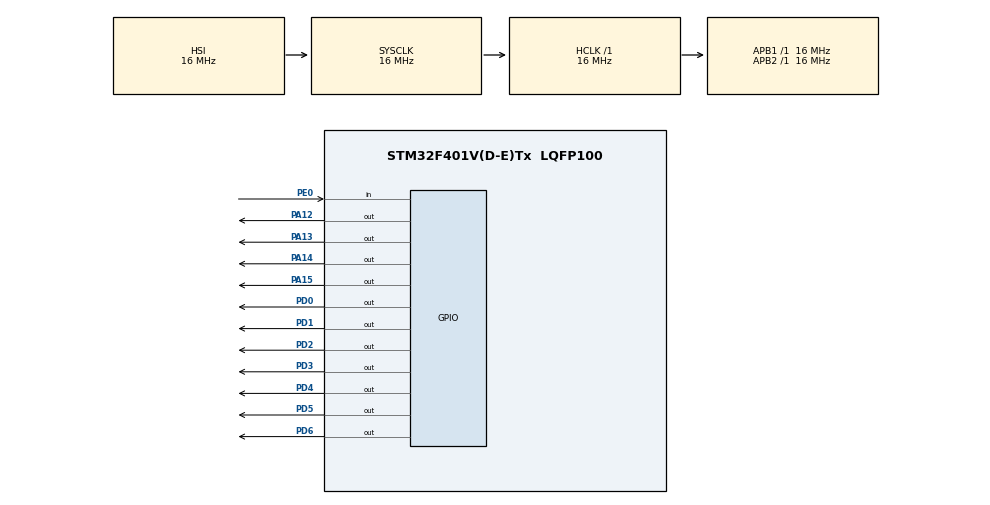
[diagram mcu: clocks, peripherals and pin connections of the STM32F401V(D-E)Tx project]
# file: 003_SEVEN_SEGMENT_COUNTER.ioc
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Mcu.Family=STM32F4
Mcu.Name=STM32F401V(D-E)Tx
Mcu.Package=LQFP100
NVIC.PriorityGroup=NVIC_PRIORITYGROUP_4
PA12.Signal=GPIO_Output
PA13.Signal=GPIO_Output
PA14.Signal=GPIO_Output
PA15.Signal=GPIO_Output
PD0.PinState=GPIO_PIN_SET
PD0.Signal=GPIO_Output
PD1.PinState=GPIO_PIN_SET
PD1.Signal=GPIO_Output
PD2.PinState=GPIO_PIN_SET
PD2.Signal=GPIO_Output
PD3.PinState=GPIO_PIN_SET
PD3.Signal=GPIO_Output
PD4.PinState=GPIO_PIN_SET
PD4.Signal=GPIO_Output
PD5.PinState=GPIO_PIN_SET
PD5.Signal=GPIO_Output
PD6.Signal=GPIO_Output
PE0.GPIO_PuPd=GPIO_PULLDOWN
PE0.Signal=GPIO_Input
ProjectManager.HeapSize=0x200
ProjectManager.StackSize=0x400
ProjectManager.TargetToolchain=STM32CubeIDE
RCC.AHBFreq_Value=16000000
RCC.APB1Freq_Value=16000000
RCC.APB2Freq_Value=16000000
RCC.CortexFreq_Value=16000000
RCC.HSE_VALUE=25000000
RCC.HSI_VALUE=16000000
RCC.LSE_VALUE=32768
RCC.SYSCLKFreq_VALUE=16000000
RCC.VCOOutputFreq_Value=192000000
board=custom

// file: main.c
/* USER CODE BEGIN Header */
/**
 ******************************************************************************
 * @file           : main.c
 * @brief          : Main program body
 ******************************************************************************
 * @attention
 *
 * Copyright (c) 2023 STMicroelectronics.
 * All rights reserved.
 *
 * This software is licensed under terms that can be found in the LICENSE file
 * in the root directory of this software component.
 * If no LICENSE file comes with this software, it is provided AS-IS.
 *
 ******************************************************************************
 */
/* USER CODE END Header */
#include "main.h"

void SystemClock_Config(void);
static void MX_GPIO_Init(void);

int main(void)
{

  /* MCU Configuration--------------------------------------------------------*/

  /* Reset of all peripherals, Initializes the Flash interface and the Systick. */
  HAL_Init();

  /* Configure the system clock */
  SystemClock_Config();

  /* Initialize all configured peripherals */
  MX_GPIO_Init();
  /* USER CODE BEGIN 2 */
	const uint8_t segmentMap[16] = {
			0b00111111,   // 0
			0b00000110,   // 1
			0b01011011,   // 2
			0b01001111,   // 3
			0b01100110,   // 4
			0b01101101,   // 5
			0b01111101,   // 6
			0b00000111,   // 7
			0b01111111,   // 8
			0b01101111,   // 9
			0b01110111,   // a
			0b01111100,   // b
			0b00111001,   // c
			0b01011110,   // d
			0b01111001,   // e
			0b01110001    // f
	};

  /* USER CODE END 2 */

  /* Infinite loop */
  /* USER CODE BEGIN WHILE */
	int counter = 0;
	while (1) {
		if (HAL_GPIO_ReadPin(GPIOE, GPIO_PIN_0)) {
			while(HAL_GPIO_ReadPin(GPIOE, GPIO_PIN_0));
			HAL_Delay(100);
			counter++;
			counter = counter % 16;

			for (int i = 0; i < 4; i++)
				HAL_GPIO_WritePin(GPIOA, (1 << (i+12)), (1 << i) & counter);

			for (int i = 0; i < 7; i++)
				HAL_GPIO_WritePin(GPIOD, (1 << i), (1 << i) & segmentMap[counter]);

		}

    /* USER CODE END WHILE */

	}
}

void SystemClock_Config(void)
{
  RCC_OscInitTypeDef RCC_OscInitStruct = {0};
  RCC_ClkInitTypeDef RCC_ClkInitStruct = {0};

  /** Configure the main internal regulator output voltage
  */
  __HAL_RCC_PWR_CLK_ENABLE();
  __HAL_PWR_VOLTAGESCALING_CONFIG(PWR_REGULATOR_VOLTAGE_SCALE2);

  /** Initializes the RCC Oscillators according to the specified parameters
  * in the RCC_OscInitTypeDef structure.
  */
  RCC_OscInitStruct.OscillatorType = RCC_OSCILLATORTYPE_HSI;
  RCC_OscInitStruct.HSIState = RCC_HSI_ON;
  RCC_OscInitStruct.HSICalibrationValue = RCC_HSICALIBRATION_DEFAULT;
  RCC_OscInitStruct.PLL.PLLState = RCC_PLL_NONE;
  if (HAL_RCC_OscConfig(&RCC_OscInitStruct) != HAL_OK)
  {
    Error_Handler();
  }

  /** Initializes the CPU, AHB and APB buses clocks
  */
  RCC_ClkInitStruct.ClockType = RCC_CLOCKTYPE_HCLK|RCC_CLOCKTYPE_SYSCLK
                              |RCC_CLOCKTYPE_PCLK1|RCC_CLOCKTYPE_PCLK2;
  RCC_ClkInitStruct.SYSCLKSource = RCC_SYSCLKSOURCE_HSI;
  RCC_ClkInitStruct.AHBCLKDivider = RCC_SYSCLK_DIV1;
  RCC_ClkInitStruct.APB1CLKDivider = RCC_HCLK_DIV1;
  RCC_ClkInitStruct.APB2CLKDivider = RCC_HCLK_DIV1;

  if (HAL_RCC_ClockConfig(&RCC_ClkInitStruct, FLASH_LATENCY_0) != HAL_OK)
  {
    Error_Handler();
  }
}

static void MX_GPIO_Init(void)
{
  GPIO_InitTypeDef GPIO_InitStruct = {0};

  /* GPIO Ports Clock Enable */
  __HAL_RCC_GPIOA_CLK_ENABLE();
  __HAL_RCC_GPIOD_CLK_ENABLE();
  __HAL_RCC_GPIOE_CLK_ENABLE();

  /*Configure GPIO pin Output Level */
  HAL_GPIO_WritePin(GPIOA, GPIO_PIN_12|GPIO_PIN_13|GPIO_PIN_14|GPIO_PIN_15, GPIO_PIN_RESET);

  /*Configure GPIO pin Output Level */
  HAL_GPIO_WritePin(GPIOD, GPIO_PIN_0|GPIO_PIN_1|GPIO_PIN_2|GPIO_PIN_3
                          |GPIO_PIN_4|GPIO_PIN_5, GPIO_PIN_SET);

  /*Configure GPIO pin Output Level */
  HAL_GPIO_WritePin(GPIOD, GPIO_PIN_6, GPIO_PIN_RESET);

  /*Configure GPIO pins : PA12 PA13 PA14 PA15 */
  GPIO_InitStruct.Pin = GPIO_PIN_12|GPIO_PIN_13|GPIO_PIN_14|GPIO_PIN_15;
  GPIO_InitStruct.Mode = GPIO_MODE_OUTPUT_PP;
  GPIO_InitStruct.Pull = GPIO_NOPULL;
  GPIO_InitStruct.Speed = GPIO_SPEED_FREQ_LOW;
  HAL_GPIO_Init(GPIOA, &GPIO_InitStruct);

  /*Configure GPIO pins : PD0 PD1 PD2 PD3
                           PD4 PD5 PD6 */
  GPIO_InitStruct.Pin = GPIO_PIN_0|GPIO_PIN_1|GPIO_PIN_2|GPIO_PIN_3
                          |GPIO_PIN_4|GPIO_PIN_5|GPIO_PIN_6;
  GPIO_InitStruct.Mode = GPIO_MODE_OUTPUT_PP;
  GPIO_InitStruct.Pull = GPIO_NOPULL;
  GPIO_InitStruct.Speed = GPIO_SPEED_FREQ_LOW;
  HAL_GPIO_Init(GPIOD, &GPIO_InitStruct);

  /*Configure GPIO pin : PE0 */
  GPIO_InitStruct.Pin = GPIO_PIN_0;
  GPIO_InitStruct.Mode = GPIO_MODE_INPUT;
  GPIO_InitStruct.Pull = GPIO_PULLDOWN;
  HAL_GPIO_Init(GPIOE, &GPIO_InitStruct);

}

void Error_Handler(void)
{
	__disable_irq();
	while (1) {
	}
}
